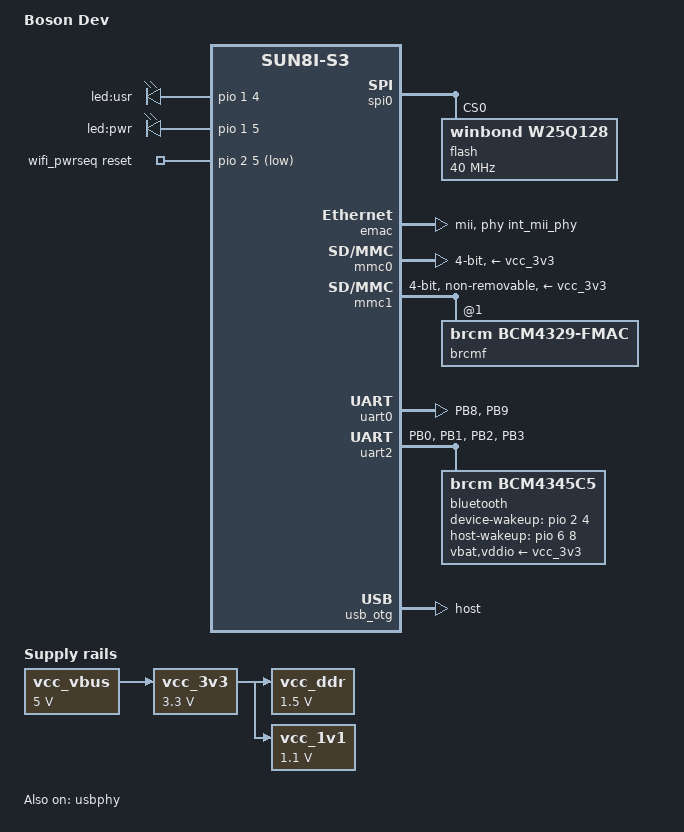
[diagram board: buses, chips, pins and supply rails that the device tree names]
// SPDX-License-Identifier: (GPL-2.0+ OR X11)
/*
 * Copyright 2022 Greg Davill <greg.davill@gmail.com>
 */

/dts-v1/;
#include "sun8i-v3.dtsi"
#include <dt-bindings/gpio/gpio.h>
#include <dt-bindings/input/input.h>

/ {
	model = "Boson Dev";
	compatible = "gsd,gsd-boson-dev", "allwinner,sun8i-s3";

	aliases {
		serial0 = &uart0;
	};

	chosen {
		stdout-path = "serial0:115200n8";
	};

	leds {
		compatible = "gpio-leds";

		led1 {
			label = "led:usr";
			gpios = <&pio 1 4 GPIO_ACTIVE_HIGH>; /* PB4 */
		};

		led2 {
			label = "led:pwr";
			gpios = <&pio 1 5 GPIO_ACTIVE_HIGH>; /* PB5 */
			default-state = "on";
		};
	};

	/*
	 * Power tree
	 * This is a virtual regulator, root of the power tree
	 */

	vcc_vbus: vcc-vbus {
		compatible = "regulator-fixed";
		regulator-always-on;
		regulator-name = "vcc-vbus";
		regulator-min-microvolt = <5000000>;
		regulator-max-microvolt = <5000000>;
	};

	/* Regulators supplied by vcc_vbus */

	vcc_3v3: vcc-3v3 {
		compatible = "regulator-fixed";
		regulator-always-on;
		regulator-name = "vcc-3v3";
		regulator-min-microvolt = <3300000>;
		regulator-max-microvolt = <3300000>;
		vin-supply = <&vcc_vbus>;
	};

	/* Regulators supplied by vcc_3v3 */

	vcc_ddr: vcc-ddr {
		compatible = "regulator-fixed";
		regulator-always-on;
		regulator-name = "vcc-ddr";
		regulator-min-microvolt = <1500000>;
		regulator-max-microvolt = <1500000>;
		vin-supply = <&vcc_3v3>;
	};

	vcc_1v1: vcc-1v1 {
		compatible = "regulator-fixed";
		regulator-always-on;
		regulator-name = "vcc-1v1";
		regulator-min-microvolt = <1100000>;
		regulator-max-microvolt = <1100000>;
		vin-supply = <&vcc_3v3>;
	};

	wifi_pwrseq: wifi_pwrseq {
		compatible = "mmc-pwrseq-simple";
		reset-gpios = <&pio 2 5 GPIO_ACTIVE_LOW>; /* PC05 WL-PMU-EN */
		post-power-on-delay-ms = <200>;
	};
};

&spi0 {
	status = "okay";

	flash@0 {
		#address-cells = <1>;
		#size-cells = <1>;
		compatible = "winbond,w25q128", "jedec,spi-nor";
		reg = <0>;
		spi-max-frequency = <40000000>;
	};
};

&emac {
	phy-handle = <&int_mii_phy>;
	phy-mode = "mii";
	status = "okay";
};

&mmc0 {
	vmmc-supply = <&vcc_3v3>;
	bus-width = <4>;
	broken-cd;
	status = "okay";
};

&mmc1 {
	vmmc-supply = <&vcc_3v3>;
	vqmmc-supply = <&vcc_3v3>;
	mmc-pwrseq = <&wifi_pwrseq>;
	bus-width = <4>;
	non-removable;
	no-1-8-v;
	cap-sd-highspeed;
//	max-frequency = <10000000>;
	status = "okay";

	brcmf: wifi@1 {
		reg = <1>;
		compatible = "brcm,bcm4329-fmac";
	};
};

&pio {
	vcc-pb-supply = <&vcc_3v3>;
	vcc-pd-supply = <&vcc_3v3>;
	vcc-pe-supply = <&vcc_3v3>;
	vcc-pf-supply = <&vcc_3v3>;
	vcc-pg-supply = <&vcc_3v3>;
};

&uart0 {
	status = "okay";

	pinctrl-names = "default";
	pinctrl-0 = <&uart0_pb_pins>;
};

&uart2 {
	status = "okay";
	pinctrl-names = "default";
	pinctrl-0 = <&uart2_pins>;
	uart-has-rtscts;

	bluetooth {
		compatible = "brcm,bcm4345c5";
		clocks = <&rtc 1>;
		clock-names = "lpo";
		device-wakeup-gpios = <&pio 2 4 GPIO_ACTIVE_HIGH>; /* PC4 */
		host-wakeup-gpios = <&pio 6 8 GPIO_ACTIVE_HIGH>; /* PG8 */
		max-speed = <1500000>;
		//shutdown-gpios = <&pio 2 7 GPIO_ACTIVE_HIGH>; /* PC5 */
		vbat-supply = <&vcc_3v3>;
		vddio-supply = <&vcc_3v3>;
	};
};

&pio {
	uart0_pb_pins: uart0-pb-pins {
		pins = "PB8", "PB9";
		function = "uart0";
	};

	uart2_pins: uart2-pins {
		/* TX, RX, RTS, CTS */
		pins = "PB0", "PB1", "PB2", "PB3";
		function = "uart2";
	};
};

&usb_otg {
	dr_mode = "host";
	status = "okay";
	vcc-supply = <&vcc_3v3>;
};

&usbphy {
	status = "okay";
	vcc-supply = <&vcc_3v3>;
};
